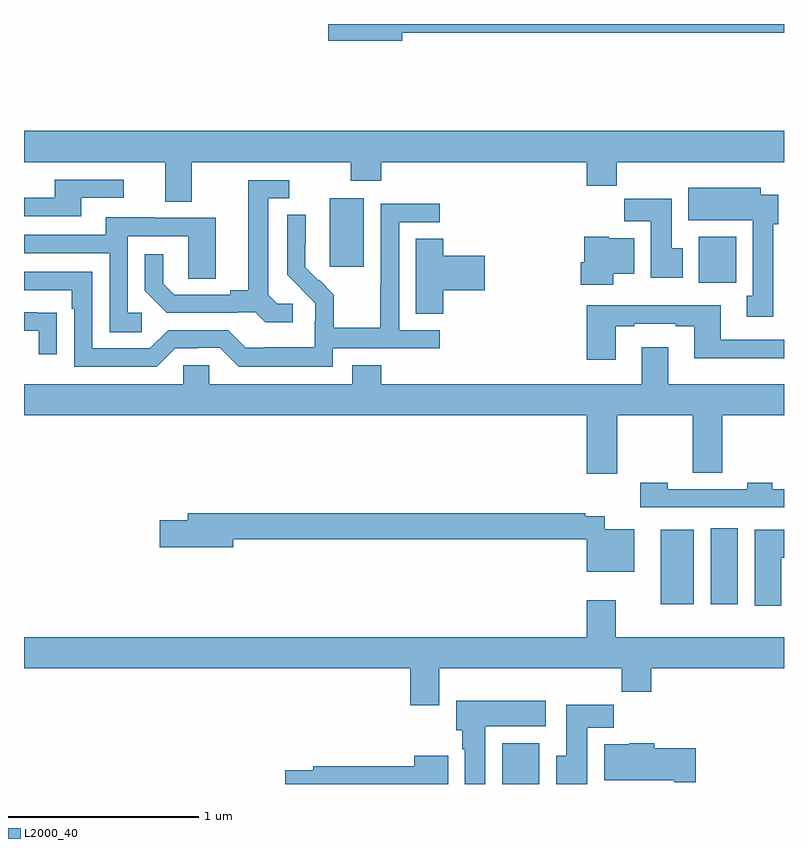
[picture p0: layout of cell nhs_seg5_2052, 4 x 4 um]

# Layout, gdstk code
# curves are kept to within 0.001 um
import gdstk
lib = gdstk.Library(unit=1e-6, precision=1e-09)
def R(c, l, rs):  # rectangles x0, y0, x1, y1
    for r in rs: c.add(gdstk.rectangle(r[:2], r[2:], *l))
def P(c, l, *ps):  # polygons
    for p in ps: c.add(gdstk.Polygon(p, *l))
L2000_40 = (2000, 40)

nhs_seg5_2052 = lib.new_cell('nhs_seg5_2052')
R(nhs_seg5_2052, L2000_40, [(233.516,874.799,233.713,875.014), (234.35,875.744,234.526,876.136), (234.614,875.744,234.757,876.145), (234.551,877.436,234.748,877.678), (232.61,877.521,232.789,877.882)])
P(nhs_seg5_2052, L2000_40, [(232.99,878.752),(235,878.752),(235,878.799),(232.602,878.799),(232.602,878.71),(232.99,878.71)],
  [(231.883,878.072),(232.72,878.072),(232.72,877.973),(232.88,877.973),(232.88,878.072),(233.963,878.072),(233.963,877.948),(234.119,877.948),(234.119,878.072),(235,878.072),(235,878.236),(231,878.236),(231,878.072),(231.743,878.072),(231.743,877.864),(231.883,877.864)],
  [(231.301,877.884),(231.526,877.884),(231.526,877.98),(231.161,877.98),(231.161,877.884),(231,877.884),(231,877.788),(231.301,877.788)],
  [(232.414,877.326),(232.332,877.326),(232.285,877.373),(232.285,877.881),(232.396,877.881),(232.396,877.977),(232.181,877.977),(232.181,877.397),(232.085,877.397),(232.085,877.374),(231.79,877.374),(231.733,877.431),(231.733,877.588),(231.636,877.588),(231.636,877.394),(231.752,877.278),(232.124,877.278),(232.124,877.281),(232.218,877.281),(232.27,877.229),(232.414,877.229)],
  [(234.943,877.746),(234.97,877.746),(234.97,877.9),(234.877,877.9),(234.877,877.936),(234.497,877.936),(234.497,877.766),(234.836,877.766),(234.836,877.37),(234.803,877.37),(234.803,877.257),(234.943,877.257)],
  [(234.466,877.62),(234.409,877.62),(234.409,877.878),(234.16,877.878),(234.16,877.76),(234.299,877.76),(234.299,877.464),(234.466,877.464)],
  [(232.626,877.092),(233.188,877.092),(233.188,877.188),(232.974,877.188),(232.974,877.755),(233.188,877.755),(233.188,877.854),(232.878,877.854),(232.878,877.424),(232.876,877.424),(232.876,877.201),(232.631,877.201),(232.631,877.375),(232.554,877.452),(232.551,877.449),(232.481,877.52),(232.482,877.796),(232.386,877.796),(232.386,877.478),(232.532,877.33),(232.532,877.233),(232.53,877.233),(232.53,877.099),(232.267,877.099),(232.267,877.095),(232.167,877.095),(232.074,877.188),(231.759,877.188),(231.663,877.092),(231.36,877.092),(231.36,877.494),(231,877.494),(231,877.398),(231.251,877.398),(231.251,877.301),(231.264,877.301),(231.264,876.996),(231.699,876.996),(231.795,877.092),(231.914,877.092),(231.914,877.095),(232.029,877.095),(232.129,876.995),(232.626,876.995)],
  [(231.619,877.278),(231.546,877.278),(231.546,877.683),(231.864,877.683),(231.864,877.459),(232.009,877.459),(232.009,877.779),(231.685,877.779),(231.685,877.783),(231.431,877.783),(231.431,877.689),(231,877.689),(231,877.593),(231.45,877.593),(231.45,877.177),(231.619,877.177)],
  [(234.1,877.484),(234.211,877.484),(234.211,877.672),(234.078,877.672),(234.078,877.678),(233.948,877.678),(233.948,877.545),(233.93,877.545),(233.93,877.427),(234.1,877.427)],
  [(233.207,877.397),(233.425,877.397),(233.425,877.58),(233.207,877.58),(233.207,877.67),(233.063,877.67),(233.063,877.273),(233.207,877.273)],
  [(234.115,877.209),(234.211,877.209),(234.211,877.221),(234.431,877.221),(234.431,877.209),(234.527,877.209),(234.527,877.04),(235,877.04),(235,877.137),(234.667,877.137),(234.667,877.318),(233.963,877.318),(233.963,877.032),(234.115,877.032)],
  [(231.173,877.28),(231.071,877.28),(231.071,877.281),(231,877.281),(231,877.185),(231.077,877.185),(231.077,877.062),(231.173,877.062)],
  [(234.123,876.74),(234.52,876.74),(234.52,876.436),(234.674,876.436),(234.674,876.74),(235,876.74),(235,876.904),(234.391,876.904),(234.391,877.099),(234.251,877.099),(234.251,876.904),(232.88,876.904),(232.88,877.003),(232.727,877.003),(232.727,876.904),(231.975,876.904),(231.975,877.002),(231.837,877.002),(231.837,876.904),(231,876.904),(231,876.74),(233.963,876.74),(233.963,876.432),(234.123,876.432)],
  [(235,876.351),(234.939,876.351),(234.939,876.384),(234.807,876.384),(234.807,876.351),(234.387,876.351),(234.387,876.384),(234.243,876.384),(234.243,876.255),(235,876.255)],
  [(234.211,876.139),(234.057,876.139),(234.057,876.207),(233.954,876.207),(233.954,876.224),(231.863,876.224),(231.863,876.188),(231.714,876.188),(231.714,876.046),(232.102,876.046),(232.102,876.088),(233.961,876.088),(233.961,875.915),(234.211,875.915)],
  [(234.985,875.989),(235,875.989),(235,876.136),(234.845,876.136),(234.845,875.736),(234.985,875.736)],
  [(233.185,875.408),(234.145,875.408),(234.145,875.284),(234.302,875.284),(234.302,875.408),(235,875.408),(235,875.572),(234.115,875.572),(234.115,875.767),(233.963,875.767),(233.963,875.572),(231,875.572),(231,875.408),(233.033,875.408),(233.033,875.214),(233.185,875.214)],
  [(233.428,875.102),(233.746,875.102),(233.746,875.236),(233.276,875.236),(233.276,875.082),(233.306,875.082),(233.306,874.982),(233.321,874.982),(233.321,874.799),(233.428,874.799)],
  [(233.965,875.096),(234.104,875.096),(234.104,875.215),(233.855,875.215),(233.855,874.948),(233.801,874.948),(233.801,874.799),(233.965,874.799)],
  [(234.535,874.986),(234.317,874.986),(234.317,875.014),(234.186,875.014),(234.186,875.008),(234.053,875.008),(234.053,874.82),(234.422,874.82),(234.422,874.808),(234.535,874.808)],
  [(233.233,874.948),(233.054,874.948),(233.054,874.892),(232.522,874.892),(232.522,874.872),(232.376,874.872),(232.376,874.799),(233.233,874.799)])

lib.write_gds('nhs_seg5_2052.gds')
